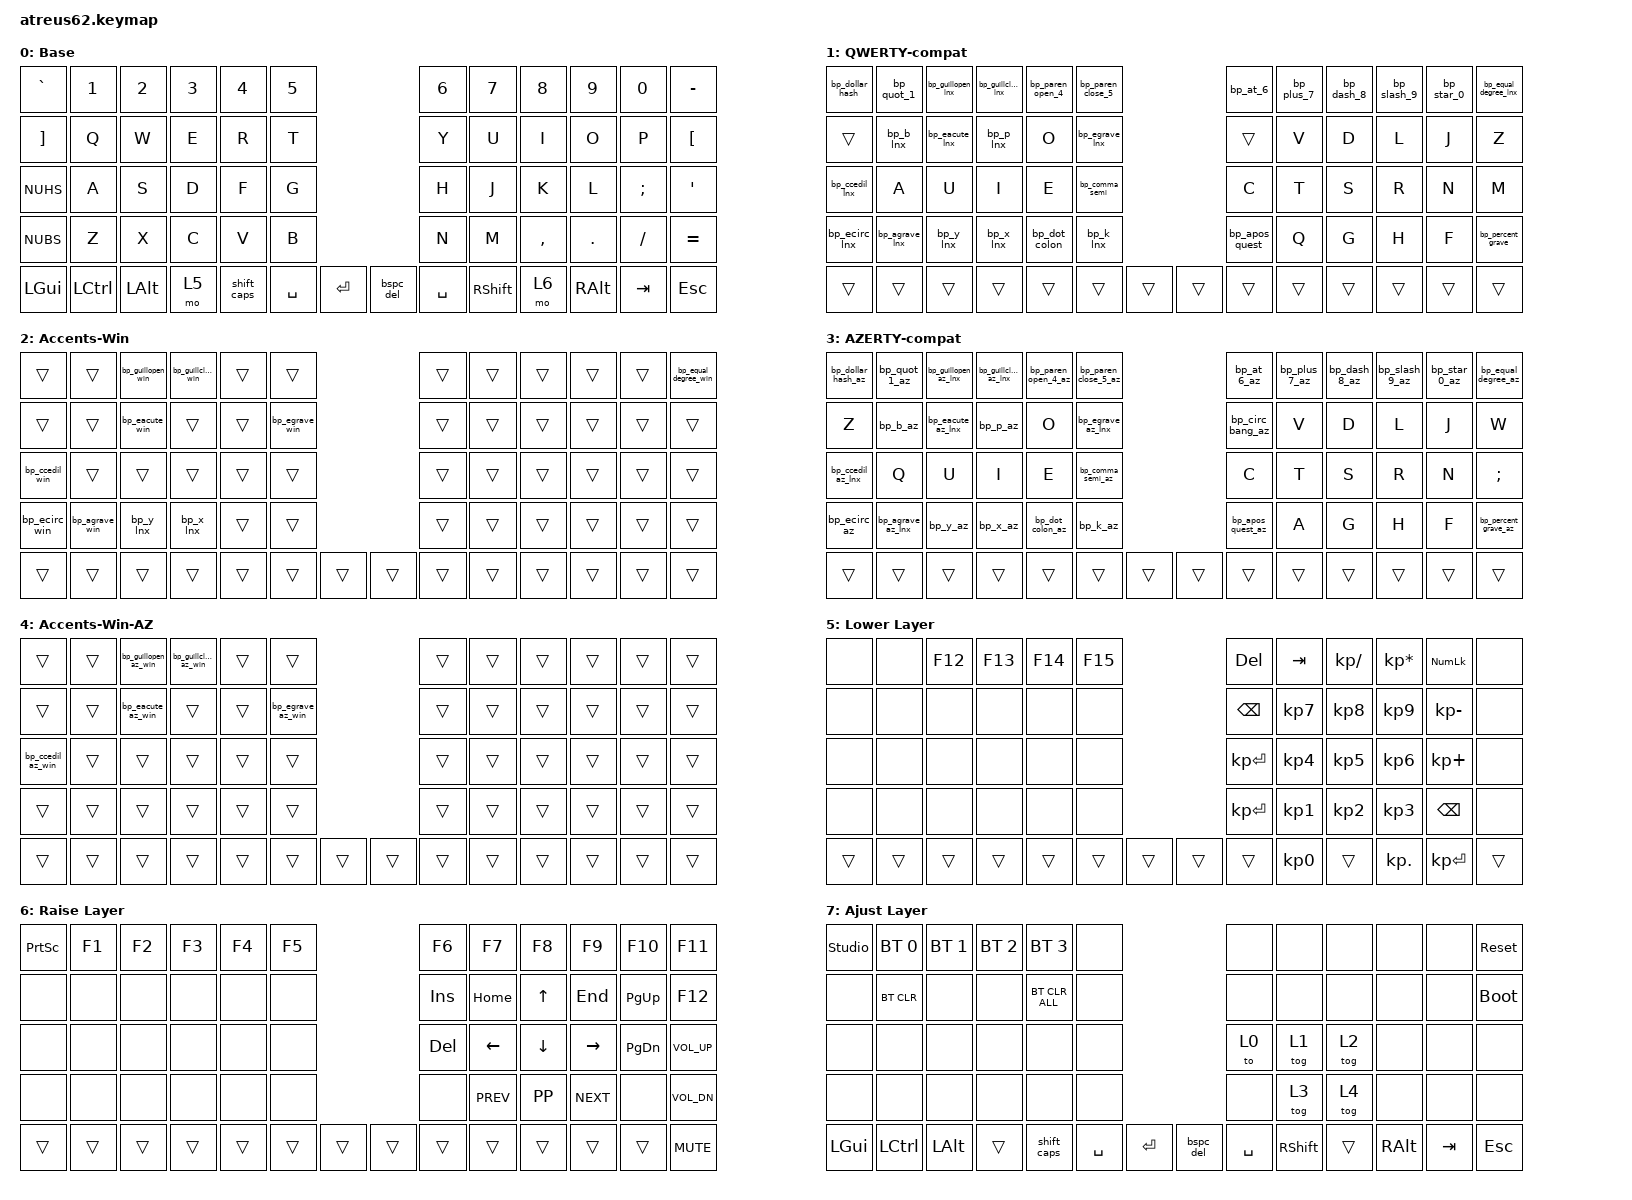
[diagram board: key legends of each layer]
#include <behaviors.dtsi>
#include <dt-bindings/zmk/keys.h>
#include <dt-bindings/zmk/bt.h>

/ {
    behaviors {
        bspc_del: bspc_del {
            compatible = "zmk,behavior-mod-morph";
            #binding-cells = <0>;
            bindings = <&kp BACKSPACE>, <&kp DELETE>;
            mods = <(MOD_LSFT|MOD_RSFT)>;
            keep-mods = <(MOD_RSFT)>;
        };
        shift_caps: shift_caps {
            compatible = "zmk,behavior-mod-morph";
            #binding-cells = <0>;
            bindings = <&kp LSHIFT>, <&kp CAPSLOCK>;
            mods = <(MOD_RSFT)>;
        };
        
        /* Bépo -> QWERTY */
                
        bp_dot_colon: bp_dot_colon {
            compatible = "zmk,behavior-mod-morph";
            #binding-cells = <0>;
            bindings = <&kp DOT>, <&kp SEMI>;
            mods = <(MOD_LSFT|MOD_RSFT)>;
            keep-mods = <(MOD_LSFT|MOD_RSFT)>;
        };
        bp_apos_quest: bp_apos_quest {
            compatible = "zmk,behavior-mod-morph";
            #binding-cells = <0>;
            bindings = <&kp APOS>, <&kp SLASH>;
            mods = <(MOD_LSFT|MOD_RSFT)>;
            keep-mods = <(MOD_LSFT|MOD_RSFT)>;
        };

            /* Ligne 1 */

        bp_dollar_hash: bp_dollar_hash {
            // TLDE : $ (base) / # (shift)
            compatible = "zmk,behavior-mod-morph";
            #binding-cells = <0>;
            bindings = <&kp LS(N4)>, <&kp LS(N3)>;
            mods = <(MOD_LSFT|MOD_RSFT)>;
        };
        bp_quot_1: bp_quot_1 {
            // N1 : " (base) / 1 (shift)
            compatible = "zmk,behavior-mod-morph";
            #binding-cells = <0>;
            bindings = <&kp DQT>, <&kp N1>;
            mods = <(MOD_LSFT|MOD_RSFT)>;
        };
        bp_guillopen_noralt_lnx: bp_guillopen_noralt_lnx {
            // N2 : « (base) / 2 (shift)
            compatible = "zmk,behavior-mod-morph";
            #binding-cells = <0>;
            bindings = <&mac_guillopen_lnx>, <&kp N2>;
            mods = <(MOD_LSFT|MOD_RSFT)>;
        };
        bp_guillopen_ralt_lnx: bp_guillopen_ralt_lnx {
            // <
            compatible = "zmk,behavior-mod-morph";
            #binding-cells = <0>;
            bindings = <&kp LS(COMMA)>, <&none>;
            mods = <(MOD_LSFT|MOD_RSFT)>;
        };
        bp_guillopen_lnx: bp_guillopen_lnx {
            // « 2 <
            compatible = "zmk,behavior-mod-morph";
            #binding-cells = <0>;
            bindings = <&bp_guillopen_noralt_lnx>, <&bp_guillopen_ralt_lnx>;
            mods = <MOD_RALT>;
        };
        bp_guillclose_noralt_lnx: bp_guillclose_noralt_lnx {
            // N3 : » (base) / 3 (shift)
            compatible = "zmk,behavior-mod-morph";
            #binding-cells = <0>;
            bindings = <&mac_guillclose_lnx>, <&kp N3>;
            mods = <(MOD_LSFT|MOD_RSFT)>;
        };
        bp_guillclose_ralt_lnx: bp_guillclose_ralt_lnx {
            // >
            compatible = "zmk,behavior-mod-morph";
            #binding-cells = <0>;
            bindings = <&kp LS(DOT)>, <&none>;
            mods = <(MOD_LSFT|MOD_RSFT)>;
        };
        bp_guillclose_lnx: bp_guillclose_lnx {
            // » 3 >
            compatible = "zmk,behavior-mod-morph";
            #binding-cells = <0>;
            bindings = <&bp_guillclose_noralt_lnx>, <&bp_guillclose_ralt_lnx>;
            mods = <MOD_RALT>;
        };
        bp_paren_open_noralt_lnx: bp_paren_open_noralt_lnx {
            // N4 : ( (base) / 4 (shift)
            compatible = "zmk,behavior-mod-morph";
            #binding-cells = <0>;
            bindings = <&kp LS(N9)>, <&kp N4>;
            mods = <(MOD_LSFT|MOD_RSFT)>;
        };
        bp_paren_open_ralt_lnx: bp_paren_open_ralt_lnx {
            // [
            compatible = "zmk,behavior-mod-morph";
            #binding-cells = <0>;
            bindings = <&kp LBKT>, <&none>;
            mods = <(MOD_LSFT|MOD_RSFT)>;
        };
        bp_paren_open_4: bp_paren_open_4 {
            // ( 4 [
            compatible = "zmk,behavior-mod-morph";
            #binding-cells = <0>;
            bindings = <&bp_paren_open_noralt_lnx>, <&bp_paren_open_ralt_lnx>;
            mods = <MOD_RALT>;
        };
        bp_paren_close_noralt_lnx: bp_paren_close_noralt_lnx {
            // ) (base) / 5 (shift)
            compatible = "zmk,behavior-mod-morph";
            #binding-cells = <0>;
            bindings = <&kp LS(N0)>, <&kp N5>;
            mods = <(MOD_LSFT|MOD_RSFT)>;
        };
        bp_paren_close_ralt_lnx: bp_paren_close_ralt_lnx {
            // [
            compatible = "zmk,behavior-mod-morph";
            #binding-cells = <0>;
            bindings = <&kp RBKT>, <&none>;
            mods = <(MOD_LSFT|MOD_RSFT)>;
        };
        bp_paren_close_5: bp_paren_close_5 {
            // ) 5 ]
            compatible = "zmk,behavior-mod-morph";
            #binding-cells = <0>;
            bindings = <&bp_paren_close_noralt_lnx>, <&bp_paren_close_ralt_lnx>;
            mods = <MOD_RALT>;
        };
        bp_at_6: bp_at_6 {
            // @ (base) / 6 (shift)
            compatible = "zmk,behavior-mod-morph";
            #binding-cells = <0>;
            bindings = <&kp LS(N2)>, <&kp N6>;
            mods = <(MOD_LSFT|MOD_RSFT)>;
        };
        bp_plus_7: bp_plus_7 {
            // + (base) / 7 (shift)
            compatible = "zmk,behavior-mod-morph";
            #binding-cells = <0>;
            bindings = <&kp LS(EQUAL)>, <&kp N7>;
            mods = <(MOD_LSFT|MOD_RSFT)>;
        };
        bp_dash_8: bp_dash_8 {
            // - (base) / 8 (shift)
            compatible = "zmk,behavior-mod-morph";
            #binding-cells = <0>;
            bindings = <&kp MINUS>, <&kp N8>;
            mods = <(MOD_LSFT|MOD_RSFT)>;
        };
        bp_slash_9: bp_slash_9 {
            // / (base) / 9 (shift)
            compatible = "zmk,behavior-mod-morph";
            #binding-cells = <0>;
            bindings = <&kp SLASH>, <&kp N9>;
            mods = <(MOD_LSFT|MOD_RSFT)>;
        };
        bp_star_0: bp_star_0 {
            // * (base) / 0 (shift)
            compatible = "zmk,behavior-mod-morph";
            #binding-cells = <0>;
            bindings = <&kp LS(N8)>, <&kp N0>;
            mods = <(MOD_LSFT|MOD_RSFT)>;
        };
        bp_equal_degree_lnx: bp_equal_degree_lnx {
            // Touche MINUS (fin rangée 1) : = (base) / ° (shift)
            compatible = "zmk,behavior-mod-morph";
            #binding-cells = <0>;
            bindings = <&kp EQUAL>, <&mac_degree_lnx>;
            mods = <(MOD_LSFT|MOD_RSFT)>;
        };

            /* Ligne 2 */
            
        bp_b_noralt_lnx: bp_b_noralt_lnx {
            // b (base) / B (shift)
            compatible = "zmk,behavior-mod-morph";
            #binding-cells = <0>;
            bindings = <&kp B>, <&kp LS(B)>;
            mods = <(MOD_LSFT|MOD_RSFT)>;
        };
        bp_b_ralt_lnx: bp_b_ralt_lnx {
            // | _
            compatible = "zmk,behavior-mod-morph";
            #binding-cells = <0>;
            bindings = <&kp LS(NUBS)>, <&kp LS(MINUS)>;
            mods = <(MOD_LSFT|MOD_RSFT)>;
        };
        bp_b_lnx: bp_b_lnx {
            compatible = "zmk,behavior-mod-morph";
            #binding-cells = <0>;
            bindings = <&bp_b_noralt_lnx>, <&bp_b_ralt_lnx>;
            mods = <MOD_RALT>;
        };
        bp_p_noralt_lnx: bp_p_noralt_lnx {
            // p P
            compatible = "zmk,behavior-mod-morph";
            #binding-cells = <0>;
            bindings = <&kp B>, <&kp LS(B)>;
            mods = <(MOD_LSFT|MOD_RSFT)>;
        };
        bp_p_ralt_lnx: bp_p_ralt_lnx {
            // & 
            compatible = "zmk,behavior-mod-morph";
            #binding-cells = <0>;
            bindings = <&kp LS(N7)>, <&none>;
            mods = <(MOD_LSFT|MOD_RSFT)>;
        };
        bp_p_lnx: bp_p_lnx {
            compatible = "zmk,behavior-mod-morph";
            #binding-cells = <0>;
            bindings = <&bp_p_noralt_lnx>, <&bp_p_ralt_lnx>;
            mods = <MOD_RALT>;
        };

            /* Ligne 3 */

        bp_eacute_lnx: bp_eacute_lnx {
            compatible = "zmk,behavior-mod-morph";
            #binding-cells = <0>;
            bindings = <&mac_eacute_lo_lnx>, <&mac_eacute_up_lnx>;
            mods = <(MOD_LSFT|MOD_RSFT)>;
        };
        bp_egrave_lnx: bp_egrave_lnx {
            compatible = "zmk,behavior-mod-morph";
            #binding-cells = <0>;
            bindings = <&mac_egrave_lo_lnx>, <&mac_egrave_up_lnx>;
            mods = <(MOD_LSFT|MOD_RSFT)>;
        };
        bp_ccedil_lnx: bp_ccedil_lnx {
            compatible = "zmk,behavior-mod-morph";
            #binding-cells = <0>;
            bindings = <&mac_ccedil_lo_lnx>, <&mac_ccedil_up_lnx>;
            mods = <(MOD_LSFT|MOD_RSFT)>;
        };
        bp_comma_semi_noralt: bp_comma_semi_noralt {
            compatible = "zmk,behavior-mod-morph";
            #binding-cells = <0>;
            bindings = <&kp COMMA>, <&kp SEMI>;
            mods = <(MOD_LSFT|MOD_RSFT)>;
        };
        bp_comma_semi_ralt: bp_comma_semi_ralt {
            compatible = "zmk,behavior-mod-morph";
            #binding-cells = <0>;
            bindings = <&kp APOS>, <&none>;
            mods = <(MOD_LSFT|MOD_RSFT)>;
        };
        bp_comma_semi: bp_comma_semi {
            compatible = "zmk,behavior-mod-morph";
            #binding-cells = <0>;
            bindings = <&bp_comma_semi_noralt>, <&bp_comma_semi_ralt>;
            mods = <MOD_RALT>;
        };

             /* rangée 4 */

        bp_ecirc_noralt_lnx: bp_ecirc_noralt_lnx {
            compatible = "zmk,behavior-mod-morph";
            #binding-cells = <0>;
            bindings = <&mac_ecirc_lo_lnx>, <&mac_ecirc_up_lnx>;
            mods = <(MOD_LSFT|MOD_RSFT)>;
        };
        bp_ecirc_ralt_lnx: bp_ecirc_ralt_lnx {
            compatible = "zmk,behavior-mod-morph";
            #binding-cells = <0>;
            bindings = <&kp SLASH>, <&none>;
            mods = <(MOD_LSFT|MOD_RSFT)>;
        };
        bp_ecirc_lnx: bp_ecirc_lnx {
            // ê Ê /
            compatible = "zmk,behavior-mod-morph";
            #binding-cells = <0>;
            bindings = <&bp_ecirc_noralt_lnx>, <&bp_ecirc_ralt_lnx>;
            mods = <MOD_RALT>;
        };
        bp_agrave_noralt_lnx: bp_agrave_noralt_lnx {
            compatible = "zmk,behavior-mod-morph";
            #binding-cells = <0>;
            bindings = <&mac_agrave_lo_lnx>, <&mac_agrave_up_lnx>;
            mods = <(MOD_LSFT|MOD_RSFT)>;
        };
        bp_agrave_ralt_lnx: bp_agrave_ralt_lnx {
            compatible = "zmk,behavior-mod-morph";
            #binding-cells = <0>;
            bindings = <&kp NUHS>, <&none>;
            mods = <(MOD_LSFT|MOD_RSFT)>;
        };
        bp_agrave_lnx: bp_agrave_lnx {
            compatible = "zmk,behavior-mod-morph";
            #binding-cells = <0>;
            bindings = <&bp_agrave_noralt_lnx>, <&bp_agrave_ralt_lnx>;
            mods = <MOD_RALT>;
        };
        bp_y_noralt_lnx: bp_y_noralt_lnx {
            compatible = "zmk,behavior-mod-morph";
            #binding-cells = <0>;
            bindings = <&kp Y>, <&kp LS(Y)>;
            mods = <(MOD_LSFT|MOD_RSFT)>;
        };
        bp_y_ralt_lnx: bp_y_ralt_lnx {
            compatible = "zmk,behavior-mod-morph";
            #binding-cells = <0>;
            bindings = <&kp LBRC>, <&none>;
            mods = <(MOD_LSFT|MOD_RSFT)>;
        };
        bp_y_lnx: bp_y_lnx {
            compatible = "zmk,behavior-mod-morph";
            #binding-cells = <0>;
            bindings = <&bp_y_noralt_lnx>, <&bp_y_ralt_lnx>;
            mods = <MOD_RALT>;
        };
        bp_x_noralt_lnx: bp_x_noralt_lnx {
            compatible = "zmk,behavior-mod-morph";
            #binding-cells = <0>;
            bindings = <&kp X>, <&kp LS(X)>;
            mods = <(MOD_LSFT|MOD_RSFT)>;
        };
        bp_x_ralt_lnx: bp_x_ralt_lnx {
            compatible = "zmk,behavior-mod-morph";
            #binding-cells = <0>;
            bindings = <&kp RBRC>, <&none>;
            mods = <(MOD_LSFT|MOD_RSFT)>;
        };
        bp_x_lnx: bp_x_lnx {
            compatible = "zmk,behavior-mod-morph";
            #binding-cells = <0>;
            bindings = <&bp_x_noralt_lnx>, <&bp_x_ralt_lnx>;
            mods = <MOD_RALT>;
        };
        bp_k_noralt_lnx: bp_k_noralt_lnx {
            compatible = "zmk,behavior-mod-morph";
            #binding-cells = <0>;
            bindings = <&kp K>, <&kp LS(K)>;
            mods = <(MOD_LSFT|MOD_RSFT)>;
        };
        bp_k_ralt_lnx: bp_k_ralt_lnx {
            compatible = "zmk,behavior-mod-morph";
            #binding-cells = <0>;
            bindings = <&kp TILDE>, <&none>;
            mods = <(MOD_LSFT|MOD_RSFT)>;
        };
        bp_k_lnx: bp_k_lnx {
            compatible = "zmk,behavior-mod-morph";
            #binding-cells = <0>;
            bindings = <&bp_k_noralt_lnx>, <&bp_k_ralt_lnx>;
            mods = <MOD_RALT>;
        };
        bp_percent_grave: bp_percent_grave {
            // % (base) / ` (shift)
            compatible = "zmk,behavior-mod-morph";
            #binding-cells = <0>;
            bindings = <&kp LS(N5)>, <&kp GRAVE>;
            mods = <(MOD_LSFT|MOD_RSFT)>;
        };

        /* Bépo to qwerty WIN */
        
        bp_eacute_win: bp_eacute_win {
            compatible = "zmk,behavior-mod-morph";
            #binding-cells = <0>;
            bindings = <&mac_eacute_lo_win>, <&mac_eacute_up_win>;
            mods = <(MOD_LSFT|MOD_RSFT)>;
        };
        bp_egrave_win: bp_egrave_win {
            compatible = "zmk,behavior-mod-morph";
            #binding-cells = <0>;
            bindings = <&mac_egrave_lo_win>, <&mac_egrave_up_win>;
            mods = <(MOD_LSFT|MOD_RSFT)>;
        };
        bp_ccedil_win: bp_ccedil_win {
            compatible = "zmk,behavior-mod-morph";
            #binding-cells = <0>;
            bindings = <&mac_ccedil_lo_win>, <&mac_ccedil_up_win>;
            mods = <(MOD_LSFT|MOD_RSFT)>;
        };
        bp_ecirc_win: bp_ecirc_win {
            compatible = "zmk,behavior-mod-morph";
            #binding-cells = <0>;
            bindings = <&mac_ecirc_lo_win>, <&mac_ecirc_up_win>;
            mods = <(MOD_LSFT|MOD_RSFT)>;
        };
        bp_agrave_win: bp_agrave_win {
            compatible = "zmk,behavior-mod-morph";
            #binding-cells = <0>;
            bindings = <&mac_agrave_lo_win>, <&mac_agrave_up_win>;
            mods = <(MOD_LSFT|MOD_RSFT)>;
        };
        bp_guillopen_win: bp_guillopen_win {
            compatible = "zmk,behavior-mod-morph";
            #binding-cells = <0>;
            bindings = <&mac_guillopen_win>, <&kp N2>;
            mods = <(MOD_LSFT|MOD_RSFT)>;
        };
        bp_guillclose_win: bp_guillclose_win {
            compatible = "zmk,behavior-mod-morph";
            #binding-cells = <0>;
            bindings = <&mac_guillclose_win>, <&kp N3>;
            mods = <(MOD_LSFT|MOD_RSFT)>;
        };
        bp_equal_degree_win: bp_equal_degree_win {
            compatible = "zmk,behavior-mod-morph";
            #binding-cells = <0>;
            bindings = <&kp EQUAL>, <&mac_degree_win>;
            mods = <(MOD_LSFT|MOD_RSFT)>;
        };

        /* BÉPO to AZERTY */

        /* Ligne 1 */
        bp_dollar_hash_az: bp_dollar_hash_az {
            // TLDE : $ (base, natif AD12) / # (shift, AltGr+3)
            compatible = "zmk,behavior-mod-morph";
            #binding-cells = <0>;
            bindings = <&kp RBKT>, <&kp RA(N3)>;
            mods = <(MOD_LSFT|MOD_RSFT)>;
        };
        bp_quot_1_az: bp_quot_1_az {
            // N1 : " (base) / 1 (shift) - tout natif
            compatible = "zmk,behavior-mod-morph";
            #binding-cells = <0>;
            bindings = <&kp N3>, <&kp LS(N1)>;
            mods = <(MOD_LSFT|MOD_RSFT)>;
        };
        bp_guillopen_noralt_az_lnx: bp_guillopen_noralt_az_lnx {
            compatible = "zmk,behavior-mod-morph"; #binding-cells = <0>;
            bindings = <&kp RA(W)>, <&kp LS(N2)>;
            mods = <(MOD_LSFT|MOD_RSFT)>;
        };
        bp_guillopen_ralt_az_lnx: bp_guillopen_ralt_az_lnx {
            compatible = "zmk,behavior-mod-morph"; #binding-cells = <0>;
            bindings = <&kp RA(LS(W))>, <&none>;
            mods = <(MOD_LSFT|MOD_RSFT)>;
        };
        bp_guillopen_az_lnx: bp_guillopen_az_lnx {
            compatible = "zmk,behavior-mod-morph"; #binding-cells = <0>;
            bindings = <&bp_guillopen_noralt_az_lnx>, <&bp_guillopen_ralt_az_lnx>;
            mods = <MOD_RALT>;
        };
        bp_guillclose_noralt_az_lnx: bp_guillclose_noralt_az_lnx {
            compatible = "zmk,behavior-mod-morph"; #binding-cells = <0>;
            bindings = <&kp RA(X)>, <&kp LS(N3)>;
            mods = <(MOD_LSFT|MOD_RSFT)>;
        };
        bp_guillclose_ralt_az_lnx: bp_guillclose_ralt_az_lnx {
            compatible = "zmk,behavior-mod-morph"; #binding-cells = <0>;
            bindings = <&kp RA(LS(X))>, <&none>;
            mods = <(MOD_LSFT|MOD_RSFT)>;
        };
        bp_guillclose_az_lnx: bp_guillclose_az_lnx {
            compatible = "zmk,behavior-mod-morph"; #binding-cells = <0>;
            bindings = <&bp_guillclose_noralt_az_lnx>, <&bp_guillclose_ralt_az_lnx>;
            mods = <MOD_RALT>;
        };
        bp_paren_open_4_az: bp_paren_open_4_az {
            compatible = "zmk,behavior-mod-morph";
            #binding-cells = <0>;
            bindings = <&kp N5>, <&kp LS(N4)>;
            mods = <(MOD_LSFT|MOD_RSFT)>;
        };
        bp_paren_close_5_az: bp_paren_close_5_az {
            compatible = "zmk,behavior-mod-morph";
            #binding-cells = <0>;
            bindings = <&kp MINUS>, <&kp LS(N5)>;
            mods = <(MOD_LSFT|MOD_RSFT)>;
        };
        bp_at_6_az: bp_at_6_az {
            // @ = AltGr+0 sur AZERTY
            compatible = "zmk,behavior-mod-morph";
            #binding-cells = <0>;
            bindings = <&kp RA(N0)>, <&kp LS(N6)>;
            mods = <(MOD_LSFT|MOD_RSFT)>;
        };
        bp_plus_7_az: bp_plus_7_az {
            compatible = "zmk,behavior-mod-morph";
            #binding-cells = <0>;
            bindings = <&kp LS(EQUAL)>, <&kp LS(N7)>;
            mods = <(MOD_LSFT|MOD_RSFT)>;
        };
        bp_dash_8_az: bp_dash_8_az {
            compatible = "zmk,behavior-mod-morph";
            #binding-cells = <0>;
            bindings = <&kp N6>, <&kp LS(N8)>;
            mods = <(MOD_LSFT|MOD_RSFT)>;
        };
        bp_slash_9_az: bp_slash_9_az {
            compatible = "zmk,behavior-mod-morph";
            #binding-cells = <0>;
            bindings = <&kp LS(DOT)>, <&kp LS(N9)>;
            mods = <(MOD_LSFT|MOD_RSFT)>;
        };
        bp_star_0_az: bp_star_0_az {
            compatible = "zmk,behavior-mod-morph";
            #binding-cells = <0>;
            bindings = <&kp NUHS>, <&kp LS(N0)>;
            mods = <(MOD_LSFT|MOD_RSFT)>;
        };
        bp_equal_degree_az: bp_equal_degree_az {
            compatible = "zmk,behavior-mod-morph";
            #binding-cells = <0>;
            bindings = <&kp EQUAL>, <&kp LS(MINUS)>;
            mods = <(MOD_LSFT|MOD_RSFT)>;
        };
        bp_percent_grave_az: bp_percent_grave_az {
            // % (base, shift+ù) / ` (shift, AltGr+7)
            compatible = "zmk,behavior-mod-morph";
            #binding-cells = <0>;
            bindings = <&kp LS(APOS)>, <&kp RA(N7)>;
            mods = <(MOD_LSFT|MOD_RSFT)>;
        };

        /* Ligne 2 */

        bp_b_noralt_az: bp_b_noralt_az {
            compatible = "zmk,behavior-mod-morph";
            #binding-cells = <0>;
            bindings = <&kp B>, <&kp LS(B)>;
            mods = <(MOD_LSFT|MOD_RSFT)>;
        };
        bp_b_ralt_az: bp_b_ralt_az {
            compatible = "zmk,behavior-mod-morph";
            #binding-cells = <0>;
            bindings = <&kp RA(N6)>, <&none>;
            mods = <(MOD_LSFT|MOD_RSFT)>;
        };
        bp_b_az: bp_b_az {
            compatible = "zmk,behavior-mod-morph";
            #binding-cells = <0>;
            bindings = <&bp_b_noralt_az>, <&bp_b_ralt_az>;
            mods = <MOD_RALT>;
        };
        bp_eacute_az_lnx: bp_eacute_az_lnx {
            compatible = "zmk,behavior-mod-morph"; #binding-cells = <0>;
            bindings = <&kp N2>, <&mac_eacute_up_lnx>;
            mods = <(MOD_LSFT|MOD_RSFT)>;
        };
        bp_p_noralt_az: bp_p_noralt_az {
            compatible = "zmk,behavior-mod-morph";
            #binding-cells = <0>;
            bindings = <&kp P>, <&kp LS(P)>;
            mods = <(MOD_LSFT|MOD_RSFT)>;
        };
        bp_p_ralt_az: bp_p_ralt_az {
            compatible = "zmk,behavior-mod-morph";
            #binding-cells = <0>;
            bindings = <&kp N1>, <&none>;
            mods = <(MOD_LSFT|MOD_RSFT)>;
        };
        bp_p_az: bp_p_az {
            compatible = "zmk,behavior-mod-morph";
            #binding-cells = <0>;
            bindings = <&bp_p_noralt_az>, <&bp_p_ralt_az>;
            mods = <MOD_RALT>;
        };
        bp_circ_bang_az: bp_circ_bang_az {
            // touche Y (Bépo) : accent circonflexe mort (base) / ! (shift)
            compatible = "zmk,behavior-mod-morph";
            #binding-cells = <0>;
            bindings = <&kp LBKT>, <&kp SLASH>;
            mods = <(MOD_LSFT|MOD_RSFT)>;
        };

        /* Ligne 3 */

        bp_ccedil_az_lnx: bp_ccedil_az_lnx {
            compatible = "zmk,behavior-mod-morph"; #binding-cells = <0>;
            bindings = <&kp N9>, <&mac_ccedil_up_lnx>;
            mods = <(MOD_LSFT|MOD_RSFT)>;
        };
        bp_comma_semi_az: bp_comma_semi_az {
            // , (base) / ; (shift)
            compatible = "zmk,behavior-mod-morph";
            #binding-cells = <0>;
            bindings = <&kp M>, <&kp COMMA>;
            mods = <(MOD_LSFT|MOD_RSFT)>;
        };

        /* Ligne 4 */

        bp_ecirc_noralt_az: bp_ecirc_noralt_az {
            // ê : touche morte ^ + e (natif, marche pareil sur tous les OS)
            compatible = "zmk,behavior-mod-morph";
            #binding-cells = <0>;
            bindings = <&mac_ecirc_az>, <&mac_ecirc_up_az>;
            mods = <(MOD_LSFT|MOD_RSFT)>;
        };
        bp_ecirc_ralt_az: bp_ecirc_ralt_az {
            // /
            compatible = "zmk,behavior-mod-morph";
            #binding-cells = <0>;
            bindings = <&kp LS(DOT)>, <&kp RA(N9)>;
            mods = <(MOD_LSFT|MOD_RSFT)>;
        };
        bp_ecirc_az: bp_ecirc_az {
            // ê Ê /
            compatible = "zmk,behavior-mod-morph";
            #binding-cells = <0>;
            bindings = <&bp_ecirc_noralt_az>, <&bp_ecirc_ralt_az>;
            mods = <MOD_RALT>;
        };
        bp_agrave_noralt_az_lnx: bp_agrave_noralt_az_lnx {
            // à À
            compatible = "zmk,behavior-mod-morph"; #binding-cells = <0>;
            bindings = <&kp N0>, <&mac_agrave_up_lnx>;
            mods = <(MOD_LSFT|MOD_RSFT)>;
        };
        bp_agrave_ralt_az: bp_agrave_ralt_az {
            // Anti-slash
            compatible = "zmk,behavior-mod-morph"; #binding-cells = <0>;
            bindings = <&kp RA(N8)>, <&none>;
            mods = <(MOD_LSFT|MOD_RSFT)>;
        };
        bp_agrave_az_lnx: bp_agrave_az_lnx {
            // à À Anti-slash
            compatible = "zmk,behavior-mod-morph"; #binding-cells = <0>;
            bindings = <&bp_agrave_noralt_az_lnx>, <&bp_agrave_ralt_az>;
            mods = <MOD_RALT>;
        };
        bp_y_noralt_az: bp_y_noralt_az {
            compatible = "zmk,behavior-mod-morph"; #binding-cells = <0>;
            bindings = <&kp Y>, <&kp LS(Y)>;
            mods = <(MOD_LSFT|MOD_RSFT)>;
        };
        bp_y_ralt_az: bp_y_ralt_az {
            compatible = "zmk,behavior-mod-morph"; #binding-cells = <0>;
            bindings = <&kp RA(N4)>, <&none>;
            mods = <(MOD_LSFT|MOD_RSFT)>;
        };
        bp_y_az: bp_y_az {
            // y Y {
            compatible = "zmk,behavior-mod-morph"; #binding-cells = <0>;
            bindings = <&bp_y_noralt_az>, <&bp_y_ralt_az>;
            mods = <MOD_RALT>;
        };
        bp_x_noralt_az: bp_x_noralt_az {
            compatible = "zmk,behavior-mod-morph"; #binding-cells = <0>;
            bindings = <&kp X>, <&kp LS(X)>;
            mods = <(MOD_LSFT|MOD_RSFT)>;
        };
        bp_x_ralt_az: bp_x_ralt_az {
            compatible = "zmk,behavior-mod-morph"; #binding-cells = <0>;
            bindings = <&kp RA(EQUAL)>, <&none>;
            mods = <(MOD_LSFT|MOD_RSFT)>;
        };
        bp_x_az: bp_x_az {
            // x X }
            compatible = "zmk,behavior-mod-morph"; #binding-cells = <0>;
            bindings = <&bp_x_noralt_az>, <&bp_x_ralt_az>;
            mods = <MOD_RALT>;
        };
        bp_dot_colon_az: bp_dot_colon_az {
            // . (base) / : (shift)
            compatible = "zmk,behavior-mod-morph";
            #binding-cells = <0>;
            bindings = <&kp LS(COMMA)>, <&kp DOT>;
            mods = <(MOD_LSFT|MOD_RSFT)>;
        };
        bp_k_noralt_az: bp_k_noralt_az {
            compatible = "zmk,behavior-mod-morph"; #binding-cells = <0>;
            bindings = <&kp K>, <&kp LS(K)>;
            mods = <(MOD_LSFT|MOD_RSFT)>;
        };
        bp_k_ralt_az: bp_k_ralt_az {
            compatible = "zmk,behavior-mod-morph"; #binding-cells = <0>;
            bindings = <&kp RA(N2)>, <&none>;
            mods = <(MOD_LSFT|MOD_RSFT)>;
        };
        bp_k_az: bp_k_az {
            compatible = "zmk,behavior-mod-morph"; #binding-cells = <0>;
            bindings = <&bp_k_noralt_az>, <&bp_k_ralt_az>;
            mods = <MOD_RALT>;
        };
        bp_apos_quest_az: bp_apos_quest_az {
            // ' (base) / ? (shift)
            compatible = "zmk,behavior-mod-morph";
            #binding-cells = <0>;
            bindings = <&kp N4>, <&kp LS(M)>;
            mods = <(MOD_LSFT|MOD_RSFT)>;
        };
        bp_egrave_az_lnx: bp_egrave_az_lnx {
            compatible = "zmk,behavior-mod-morph"; #binding-cells = <0>;
            bindings = <&kp N7>, <&mac_egrave_up_lnx>;
            mods = <(MOD_LSFT|MOD_RSFT)>;
        };
        bp_eacute_az_win: bp_eacute_az_win {
            compatible = "zmk,behavior-mod-morph"; #binding-cells = <0>;
            bindings = <&kp N2>, <&mac_eacute_up_win>;
            mods = <(MOD_LSFT|MOD_RSFT)>;
        };
        bp_egrave_az_win: bp_egrave_az_win {
            compatible = "zmk,behavior-mod-morph"; #binding-cells = <0>;
            bindings = <&kp N7>, <&mac_egrave_up_win>;
            mods = <(MOD_LSFT|MOD_RSFT)>;
        };
        bp_agrave_az_win: bp_agrave_az_win {
            compatible = "zmk,behavior-mod-morph"; #binding-cells = <0>;
            bindings = <&kp N0>, <&mac_agrave_up_win>;
            mods = <(MOD_LSFT|MOD_RSFT)>;
        };
        bp_ccedil_az_win: bp_ccedil_az_win {
            compatible = "zmk,behavior-mod-morph"; #binding-cells = <0>;
            bindings = <&kp N9>, <&mac_ccedil_up_win>;
            mods = <(MOD_LSFT|MOD_RSFT)>;
        };
        bp_guillopen_noralt_az_win: bp_guillopen_noralt_az_win {
            compatible = "zmk,behavior-mod-morph"; #binding-cells = <0>;
            bindings = <&mac_guillopen_win>, <&kp LS(N2)>;
            mods = <(MOD_LSFT|MOD_RSFT)>;
        };
        bp_guillopen_ralt_az_win: bp_guillopen_ralt_az_win {
            compatible = "zmk,behavior-mod-morph"; #binding-cells = <0>;
            bindings = <&kp NUBS>, <&none>;
            mods = <(MOD_LSFT|MOD_RSFT)>;
        };
        bp_guillopen_az_win: bp_guillopen_az_win {
            compatible = "zmk,behavior-mod-morph"; #binding-cells = <0>;
            bindings = <&bp_guillopen_noralt_az_win>, <&bp_guillopen_ralt_az_win>;
            mods = <MOD_RALT>;
        };
        bp_guillclose_noralt_az_win: bp_guillclose_noralt_az_win {
            compatible = "zmk,behavior-mod-morph"; #binding-cells = <0>;
            bindings = <&mac_guillclose_win>, <&kp LS(N3)>;
            mods = <(MOD_LSFT|MOD_RSFT)>;
        };
        bp_guillclose_ralt_az_win: bp_guillclose_ralt_az_win {
            compatible = "zmk,behavior-mod-morph"; #binding-cells = <0>;
            bindings = <&kp LS(NUBS)>, <&none>;
            mods = <(MOD_LSFT|MOD_RSFT)>;
        };
        bp_guillclose_az_win: bp_guillclose_az_win {
            compatible = "zmk,behavior-mod-morph"; #binding-cells = <0>;
            bindings = <&bp_guillclose_noralt_az_win>, <&bp_guillclose_ralt_az_win>;
            mods = <MOD_RALT>;
        };
    };

    macros {
        /* --- ê en AZ : touche morte ^ (native, indépendant de l'OS) --- */
        mac_ecirc_az: mac_ecirc_az {
            compatible = "zmk,behavior-macro"; #binding-cells = <0>;
            bindings = <&macro_tap &kp LBKT &kp E>;
        };
        mac_ecirc_up_az: mac_ecirc_up_az {
            compatible = "zmk,behavior-macro"; #binding-cells = <0>;
            bindings = <&macro_tap &kp LBKT &kp LS(E)>;
        };
        /* ============== LINUX (Ctrl+Shift+U, hex, Entrée) ============== */
        mac_eacute_lo_lnx: mac_eacute_lo_lnx {
            compatible = "zmk,behavior-macro"; #binding-cells = <0>;
            bindings = <&macro_tap &kp LC(LS(U)) &kp N0 &kp N0 &kp E &kp N9 &kp ENTER>;
        };
        mac_eacute_up_lnx: mac_eacute_up_lnx {
            compatible = "zmk,behavior-macro"; #binding-cells = <0>;
            bindings = <&macro_tap &kp LC(LS(U)) &kp N0 &kp N0 &kp C &kp N9 &kp ENTER>;
        };
        mac_egrave_lo_lnx: mac_egrave_lo_lnx {
            compatible = "zmk,behavior-macro"; #binding-cells = <0>;
            bindings = <&macro_tap &kp LC(LS(U)) &kp N0 &kp N0 &kp E &kp N8 &kp ENTER>;
        };
        mac_egrave_up_lnx: mac_egrave_up_lnx {
            compatible = "zmk,behavior-macro"; #binding-cells = <0>;
            bindings = <&macro_tap &kp LC(LS(U)) &kp N0 &kp N0 &kp C &kp N8 &kp ENTER>;
        };
        mac_ccedil_lo_lnx: mac_ccedil_lo_lnx {
            compatible = "zmk,behavior-macro"; #binding-cells = <0>;
            bindings = <&macro_tap &kp LC(LS(U)) &kp N0 &kp N0 &kp E &kp N7 &kp ENTER>;
        };
        mac_ccedil_up_lnx: mac_ccedil_up_lnx {
            compatible = "zmk,behavior-macro"; #binding-cells = <0>;
            bindings = <&macro_tap &kp LC(LS(U)) &kp N0 &kp N0 &kp C &kp N7 &kp ENTER>;
        };
       mac_ecirc_lo_lnx: mac_ecirc_lo_lnx {
            compatible = "zmk,behavior-macro"; #binding-cells = <0>;
            bindings = <&macro_tap &kp LC(LS(U)) &kp N0 &kp N0 &kp E &kp A &kp ENTER>;
        };
        mac_ecirc_up_lnx: mac_ecirc_up_lnx {
            compatible = "zmk,behavior-macro"; #binding-cells = <0>;
            bindings = <&macro_tap &kp LC(LS(U)) &kp N0 &kp N0 &kp C &kp A &kp ENTER>;
        };
        mac_agrave_lo_lnx: mac_agrave_lo_lnx {
            compatible = "zmk,behavior-macro"; #binding-cells = <0>;
            bindings = <&macro_tap &kp LC(LS(U)) &kp N0 &kp N0 &kp E &kp N0 &kp ENTER>;
        };
        mac_agrave_up_lnx: mac_agrave_up_lnx {
            compatible = "zmk,behavior-macro"; #binding-cells = <0>;
            bindings = <&macro_tap &kp LC(LS(U)) &kp N0 &kp N0 &kp C &kp N0 &kp ENTER>;
        };
        mac_guillopen_lnx: mac_guillopen_lnx {
            compatible = "zmk,behavior-macro"; #binding-cells = <0>;
            bindings = <&macro_tap &kp LC(LS(U)) &kp N0 &kp N0 &kp A &kp B &kp ENTER>;
        };
        mac_guillclose_lnx: mac_guillclose_lnx {
            compatible = "zmk,behavior-macro"; #binding-cells = <0>;
            bindings = <&macro_tap &kp LC(LS(U)) &kp N0 &kp N0 &kp B &kp B &kp ENTER>;
        };
        mac_degree_lnx: mac_degree_lnx {
            compatible = "zmk,behavior-macro"; #binding-cells = <0>;
            bindings = <&macro_tap &kp LC(LS(U)) &kp N0 &kp N0 &kp B &kp N0 &kp ENTER>;
        };

        /* ====== WINDOWS (WinCompose, touche Compose = RAlt) ====== */
        mac_eacute_lo_win: mac_eacute_lo_win {
            compatible = "zmk,behavior-macro"; #binding-cells = <0>;
            bindings = <&macro_tap &kp RALT>, <&macro_tap &kp U>, <&macro_tap &kp N0 &kp N0 &kp E &kp N9>, <&macro_tap &kp ENTER>;
        };
        mac_eacute_up_win: mac_eacute_up_win {
            compatible = "zmk,behavior-macro"; #binding-cells = <0>;
            bindings = <&macro_tap &kp RALT>, <&macro_tap &kp U>, <&macro_tap &kp N0 &kp N0 &kp C &kp N9>, <&macro_tap &kp ENTER>;
        };
        mac_egrave_lo_win: mac_egrave_lo_win {
            compatible = "zmk,behavior-macro"; #binding-cells = <0>;
            bindings = <&macro_tap &kp RALT>, <&macro_tap &kp U>, <&macro_tap &kp N0 &kp N0 &kp E &kp N8>, <&macro_tap &kp ENTER>;
        };
        mac_egrave_up_win: mac_egrave_up_win {
            compatible = "zmk,behavior-macro"; #binding-cells = <0>;
            bindings = <&macro_tap &kp RALT>, <&macro_tap &kp U>, <&macro_tap &kp N0 &kp N0 &kp C &kp N8>, <&macro_tap &kp ENTER>;
        };
        mac_ccedil_lo_win: mac_ccedil_lo_win {
            compatible = "zmk,behavior-macro"; #binding-cells = <0>;
            bindings = <&macro_tap &kp RALT>, <&macro_tap &kp U>, <&macro_tap &kp N0 &kp N0 &kp E &kp N7>, <&macro_tap &kp ENTER>;
        };
        mac_ccedil_up_win: mac_ccedil_up_win {
            compatible = "zmk,behavior-macro"; #binding-cells = <0>;
            bindings = <&macro_tap &kp RALT>, <&macro_tap &kp U>, <&macro_tap &kp N0 &kp N0 &kp C &kp N7>, <&macro_tap &kp ENTER>;
        };
        mac_ecirc_lo_win: mac_ecirc_lo_win {
            compatible = "zmk,behavior-macro"; #binding-cells = <0>;
            bindings = <&macro_tap &kp RALT>, <&macro_tap &kp U>, <&macro_tap &kp N0 &kp N0 &kp E &kp A>, <&macro_tap &kp ENTER>;
        };
        mac_ecirc_up_win: mac_ecirc_up_win {
            compatible = "zmk,behavior-macro"; #binding-cells = <0>;
            bindings = <&macro_tap &kp RALT>, <&macro_tap &kp U>, <&macro_tap &kp N0 &kp N0 &kp C &kp A>, <&macro_tap &kp ENTER>;
        };
        mac_agrave_lo_win: mac_agrave_lo_win {
            compatible = "zmk,behavior-macro"; #binding-cells = <0>;
            bindings = <&macro_tap &kp RALT>, <&macro_tap &kp U>, <&macro_tap &kp N0 &kp N0 &kp E &kp N0>, <&macro_tap &kp ENTER>;
        };
        mac_agrave_up_win: mac_agrave_up_win {
            compatible = "zmk,behavior-macro"; #binding-cells = <0>;
            bindings = <&macro_tap &kp RALT>, <&macro_tap &kp U>, <&macro_tap &kp N0 &kp N0 &kp C &kp N0>, <&macro_tap &kp ENTER>;
        };
        mac_guillopen_win: mac_guillopen_win {
            compatible = "zmk,behavior-macro"; #binding-cells = <0>;
            bindings = <&macro_tap &kp RALT>, <&macro_tap &kp U>, <&macro_tap &kp N0 &kp N0 &kp A &kp B>, <&macro_tap &kp ENTER>;
        };
        mac_guillclose_win: mac_guillclose_win {
            compatible = "zmk,behavior-macro"; #binding-cells = <0>;
            bindings = <&macro_tap &kp RALT>, <&macro_tap &kp U>, <&macro_tap &kp N0 &kp N0 &kp B &kp B>, <&macro_tap &kp ENTER>;
        };
        mac_degree_win: mac_degree_win {
            compatible = "zmk,behavior-macro"; #binding-cells = <0>;
            bindings = <&macro_tap &kp RALT>, <&macro_tap &kp U>, <&macro_tap &kp N0 &kp N0 &kp B &kp N0>, <&macro_tap &kp ENTER>;
        };
    };
    
    conditional_layers {
        compatible = "zmk,conditional-layers";
        tri_layer {
            if-layers = <5 6>;
            then-layer = <7>;
        };
    };
    keymap {
        compatible = "zmk,keymap";

        default_layer { // layer 0
            display-name = "Base";
/*
 * |------------------------------------------------------------------------------------------------------------------|
 * | $     | "     | «     | »     | (     | )     |                  | @     | +     | -     | /     | *     | =     |
 * | w     | b     | é     | p     | o     | è     |                  | ^     | v     | d     | l     | j     | z     |
 * | ç     | a     | u     | i     | e     | ,     |                  | c     | t     | s     | r     | n     | m     |
 * | ê     | à     | y     | x     | .     | k     |                  | ’     | q     | g     | h     | f     | %     |
 * |-------|-------|-------|-------|-------|-------|--------  --------|-------|-------|-------|-------|-------|-------|
 * | Super | Ctrl  | Alt   | LOWER | Shift | Espace| Entrée|  | Suppr | Espace| Shift | RAISE | AltGr | Tab   | Échap |
 */
            bindings = <
&kp GRAVE &kp N1 &kp N2 &kp N3 &kp N4 &kp N5                                          &kp N6 &kp N7 &kp N8 &kp N9 &kp N0 &kp MINUS
&kp RBKT &kp Q &kp W &kp E &kp R                                                      &kp T &kp Y &kp U &kp I &kp O &kp P &kp LBKT
&kp NUHS &kp A &kp S &kp D &kp F &kp G                                                &kp H &kp J &kp K &kp L &kp SEMI &kp APOS
&kp NUBS &kp Z &kp X &kp C &kp V &kp B                                                &kp N &kp M &kp COMMA &kp DOT &kp SLASH &kp EQUAL
&kp LGUI &kp LCTRL &kp LALT &mo 5 &shift_caps &kp SPACE     &kp RET     &bspc_del     &kp SPACE &kp RSHIFT &mo 6 &kp RALT &kp TAB &kp ESC
            >;
        };
        qwerty_compat_layer { // layer 1
            // Couche 2 : translittère le Bépo pour un hôte QWERTY.
            display-name = "QWERTY-compat";
            bindings = <
&bp_dollar_hash &bp_quot_1 &bp_guillopen_lnx &bp_guillclose_lnx &bp_paren_open_4 &bp_paren_close_5     &bp_at_6 &bp_plus_7 &bp_dash_8 &bp_slash_9 &bp_star_0 &bp_equal_degree_lnx
&trans &bp_b_lnx &bp_eacute_lnx &bp_p_lnx &kp O &bp_egrave_lnx                                         &trans &kp V &kp D &kp L &kp J &kp Z
&bp_ccedil_lnx &kp A &kp U &kp I &kp E &bp_comma_semi                                                  &kp C &kp T &kp S &kp R &kp N &kp M
&bp_ecirc_lnx &bp_agrave_lnx &bp_y_lnx &bp_x_lnx &bp_dot_colon &bp_k_lnx                               &bp_apos_quest &kp Q &kp G &kp H &kp F &bp_percent_grave
&trans &trans &trans &trans &trans &trans          &trans     &trans                                   &trans &trans &trans &trans &trans &trans
            >;
        };
        qwerty_compat_windows_overlay { // layer 2
            // Couche 3 : à activer PAR-DESSUS la couche 2 sous Windows.
            display-name = "Accents-Win";
            bindings = <
&trans &trans &bp_guillopen_win &bp_guillclose_win &trans &trans              &trans &trans &trans &trans &trans &bp_equal_degree_win
&trans &trans &bp_eacute_win &trans &trans &bp_egrave_win                     &trans &trans &trans &trans &trans &trans
&bp_ccedil_win &trans &trans &trans &trans &trans                             &trans &trans &trans &trans &trans &trans
&bp_ecirc_win &bp_agrave_win &bp_y_lnx &bp_x_lnx &trans &trans                &trans &trans &trans &trans &trans &trans
&trans &trans &trans &trans &trans &trans          &trans     &trans          &trans &trans &trans &trans &trans &trans
            >;
        };
        azerty_compat_layer { // Layer 3
            // Couche 4 : translittère le Bépo pour un hôte AZERTY.
            display-name = "AZERTY-compat";
            bindings = <
&bp_dollar_hash_az &bp_quot_1_az &bp_guillopen_az_lnx &bp_guillclose_az_lnx &bp_paren_open_4_az &bp_paren_close_5_az     &bp_at_6_az &bp_plus_7_az &bp_dash_8_az &bp_slash_9_az &bp_star_0_az &bp_equal_degree_az
&kp Z &bp_b_az &bp_eacute_az_lnx &bp_p_az &kp O &bp_egrave_az_lnx                                                        &bp_circ_bang_az &kp V &kp D &kp L &kp J &kp W
&bp_ccedil_az_lnx &kp Q &kp U &kp I &kp E &bp_comma_semi_az                                                              &kp C &kp T &kp S &kp R &kp N &kp SEMI
&bp_ecirc_az &bp_agrave_az_lnx &bp_y_az &bp_x_az &bp_dot_colon_az &bp_k_az                                               &bp_apos_quest_az &kp A &kp G &kp H &kp F &bp_percent_grave_az
&trans &trans &trans &trans &trans &trans          &trans     &trans                                                     &trans &trans &trans &trans &trans &trans
            >;
        };
        azerty_compat_windows_overlay { // Layer 4
            // Couche 5 : à activer PAR-DESSUS la couche 5 sous Windows.
            display-name = "Accents-Win-AZ";
            bindings = <
&trans &trans &bp_guillopen_az_win &bp_guillclose_az_win &trans &trans        &trans &trans &trans &trans &trans &trans
&trans &trans &bp_eacute_az_win &trans &trans &bp_egrave_az_win               &trans &trans &trans &trans &trans &trans
&bp_ccedil_az_win &trans &trans &trans &trans &trans                          &trans &trans &trans &trans &trans &trans
&trans &trans &trans &trans &trans &trans                                     &trans &trans &trans &trans &trans &trans
&trans &trans &trans &trans &trans &trans          &trans     &trans          &trans &trans &trans &trans &trans &trans
            >;
        };
        lower_layer { // layer 5
            display-name = "Lower Layer";
/*
 * |------------------------------------------------------------------------------------------------------------------|
 * |       |       | F12   | F13   | F14   | F15   |                  | Suppr | Tab   | /     | *     | NumL  |       |
 * |       |       |       |       |       |       |                  | Efface| 7     | 8     | 9     |       |       |
 * |       |       |       |       |       |       |                  | Entrée| 4     | 5     | 6     | +     |       |
 * |       |       |       |       |       |       |                  | Entrée| 1     | 2     | 3     | Efface|       |
 * |-------|-------|-------|-------|-------|-------|--------  --------|-------|-------|-------|-------|-------|-------|
 * |       |       |       |       |       |       |       |  |       |       | 0     |       | .     | Entrée|       |
 */
            bindings = <
&none &none &kp F12 &kp F13 &kp F14 &kp F15                         &kp DEL &kp TAB &kp KP_SLASH &kp KP_ASTERISK &kp KP_NLCK &none
&none &none &none &none &none &none                                 &kp BSPC &kp KP_N7 &kp KP_N8 &kp KP_N9 &kp KP_MINUS &none
&none &none &none &none &none &none                                 &kp KP_ENTER &kp KP_N4 &kp KP_N5 &kp KP_N6 &kp KP_PLUS &none
&none &none &none &none &none &none                                 &kp KP_ENTER &kp KP_N1 &kp KP_N2 &kp KP_N3 &kp BSPC &none
&trans &trans &trans &trans &trans &trans     &trans     &trans     &trans &kp KP_N0 &trans &kp KP_DOT &kp KP_ENTER &trans 
            >;
        };
        raise_layer { // layer 6
            display-name = "Raise Layer";
/*
 * |------------------------------------------------------------------------------------------------------------------|
 * | PrScr | F1    | F2    | F3    | F4    | F5    |                  | F6    | F7    | F8    | F9    | F10   | F11   |
 * |       |       |       |       |       |       |                  | Ins   | Home  | ↑     | End   | Pg Up | F12   |
 * |       |       |       |       |       |       |                  | Del   | ←     | ↓     | →     | Pg Dn | VOL+  |
 * |       |       |       |       |       |       |                  |       | Prev  | PP    | Next  |       | VOL-  |
 * |-------|-------|-------|-------|-------|-------|------------------|-------|-------|-------|-------|-------|-------|
 * |       |       |       |       |       |       |       |  |       |       |       |       |       |       | Mute  |
 */
            bindings = <
&kp PSCRN &kp F1 &kp F2 &kp F3 &kp F4 &kp F5                        &kp F6 &kp F7 &kp F8 &kp F9 &kp F10 &kp F11
&none &none &none &none &none &none                                 &kp INS &kp HOME &kp UP &kp END &kp PG_UP &kp F12
&none &none &none &none &none &none                                 &kp DEL &kp LEFT &kp DOWN &kp RIGHT &kp PG_DN &kp K_VOL_UP
&none &none &none &none &none &none                                 &none &kp K_PREV &kp K_PP &kp K_NEXT &none &kp K_VOL_DN
&trans &trans &trans &trans &trans &trans     &trans     &trans     &trans &trans &trans &trans &trans &kp K_MUTE
            >;
        };
        adjust_layer { // layer 7
            display-name = "Ajust Layer";
/*
 * |------------------------------------------------------------------------------------------------------------------|
 * | Unlock| BT 0  | BT 1  | BT 2  | BT 3  |       |                  |       |       |       |       |       | Reset |
 * |       | ClrBt |       |       | ClrAll|       |                  |       |       |       |       |       | Flash |
 * |       |       |       |       |       |       |                  |       |       |       |       |       |       |
 * |       |       |       |       |       |       |                  |       |       |       |       |       |       |
 * |-------|-------|-------|-------|-------|-------|------------------|-------|-------|-------|-------|-------|-------|
 * | Super | Ctrl  | Alt   |       | Shift | Espace| Entrée|  | Suppr | Espace| Shift |       | AltGr | Tab   | Échap |
 */
            bindings = <
&studio_unlock &bt BT_SEL 0 &bt BT_SEL 1  &bt BT_SEL 2 &bt BT_SEL 3 &none              &none &none &none &none &none &sys_reset
&none &bt BT_CLR &none &none &bt BT_CLR_ALL &none                                      &none &none &none &none &none &bootloader
&none &none &none &none &none &none                                                    &to 0 &tog 1 &tog 2 &none &none &none
&none &none &none &none &none &none                                                    &none &tog 3 &tog 4 &none &none &none
&kp LGUI &kp LCTRL &kp LALT &trans &shift_caps &kp SPACE     &kp RET     &bspc_del     &kp SPACE &kp RSHIFT &trans &kp RALT &kp TAB &kp ESC
            >;
        };
    };
};
